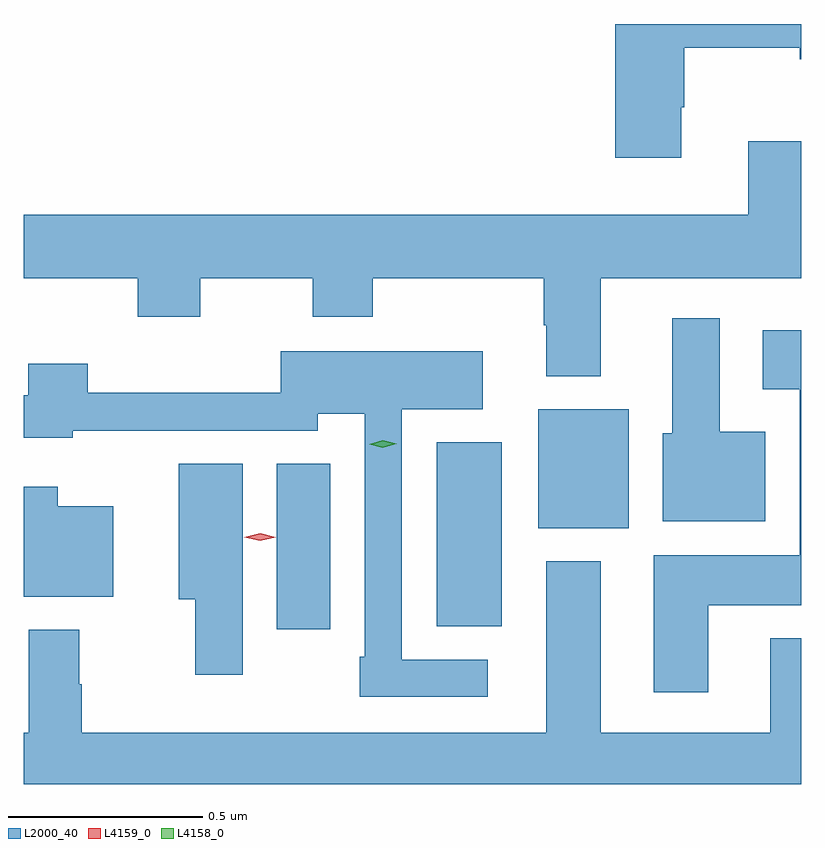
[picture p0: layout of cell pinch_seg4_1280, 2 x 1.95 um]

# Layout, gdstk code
import gdstk
lib = gdstk.Library(unit=1e-6, precision=1e-09)
def R(c, l, rs):  # rectangles x0, y0, x1, y1
    for r in rs: c.add(gdstk.rectangle(r[:2], r[2:], *l))
def P(c, l, *ps):  # polygons
    for p in ps: c.add(gdstk.Polygon(p, *l))
L2000_40 = (2000, 40)
L4158_0 = (4158, 0)
L4159_0 = (4159, 0)

pinch_seg4_1280 = lib.new_cell('pinch_seg4_1280')
R(pinch_seg4_1280, L2000_40, [(223.736,749.298,223.873,749.723), (224.147,749.305,224.314,749.779), (224.408,749.558,224.641,749.863)])
P(pinch_seg4_1280, L2000_40, [(224.776,750.64),(224.784,750.64),(224.784,750.793),(225.08,750.793),(225.08,750.764),(225.085,750.764),(225.085,750.854),(224.606,750.854),(224.606,750.51),(224.776,750.51)],
  [(224.569,750.2),(225.085,750.2),(225.085,750.553),(224.948,750.553),(224.948,750.364),(223.085,750.364),(223.085,750.2),(223.379,750.2),(223.379,750.101),(223.539,750.101),(223.539,750.2),(223.828,750.2),(223.828,750.101),(223.983,750.101),(223.983,750.2),(224.422,750.2),(224.422,750.08),(224.429,750.08),(224.429,749.948),(224.569,749.948)],
  [(224.992,749.806),(224.875,749.806),(224.875,750.097),(224.753,750.097),(224.753,749.802),(224.729,749.802),(224.729,749.576),(224.992,749.576)],
  [(224.845,749.36),(225.085,749.36),(225.085,750.067),(224.985,750.067),(224.985,749.915),(225.08,749.915),(225.08,749.488),(224.705,749.488),(224.705,749.136),(224.845,749.136)],
  [(224.278,749.22),(224.058,749.22),(224.058,749.864),(224.266,749.864),(224.266,750.013),(223.746,750.013),(223.746,749.906),(223.25,749.906),(223.25,749.98),(223.097,749.98),(223.097,749.899),(223.085,749.899),(223.085,749.79),(223.212,749.79),(223.212,749.808),(223.842,749.808),(223.842,749.852),(223.962,749.852),(223.962,749.227),(223.95,749.227),(223.95,749.124),(224.278,749.124)],
  [(223.648,749.723),(223.484,749.723),(223.484,749.375),(223.526,749.375),(223.526,749.181),(223.648,749.181)],
  [(223.315,749.614),(223.173,749.614),(223.173,749.664),(223.085,749.664),(223.085,749.381),(223.315,749.381)],
  [(225.085,749.275),(225.005,749.275),(225.005,749.032),(224.569,749.032),(224.569,749.473),(224.429,749.473),(224.429,749.032),(223.235,749.032),(223.235,749.156),(223.228,749.156),(223.228,749.296),(223.099,749.296),(223.099,749.032),(223.085,749.032),(223.085,748.9),(225.085,748.9)])
P(pinch_seg4_1280, L4158_0, [(224.009,749.764),(223.974,749.773),(223.974,749.774),(223.974,749.774),(224.009,749.784),(224.044,749.775),(224.044,749.775),(224.044,749.775)])
P(pinch_seg4_1280, L4159_0, [(223.693,749.525),(223.652,749.535),(223.652,749.535),(223.652,749.535),(223.693,749.545),(223.734,749.535),(223.734,749.534),(223.734,749.534)])

lib.write_gds('pinch_seg4_1280.gds')
